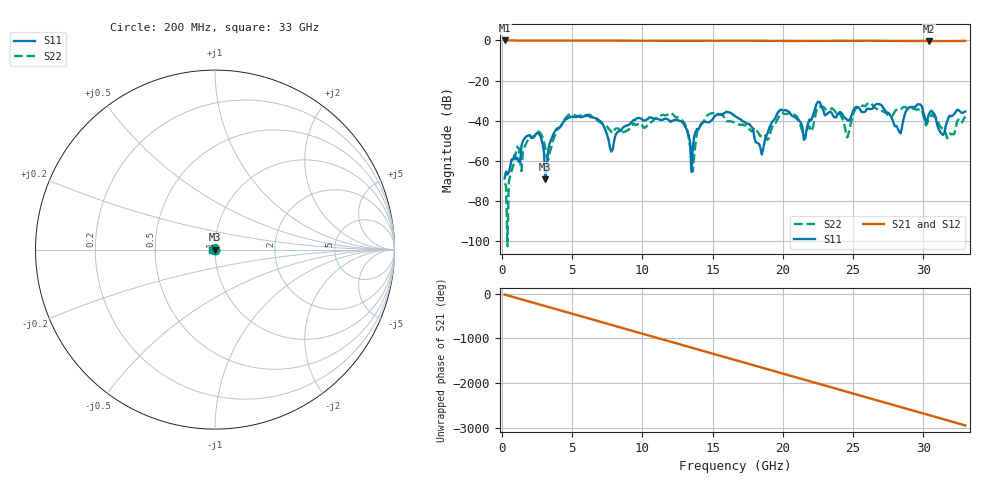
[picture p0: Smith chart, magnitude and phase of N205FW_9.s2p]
# GHZ S RI R 50
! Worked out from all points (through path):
!   329 points, 200 MHz to 33 GHz, reference 50 ohm
!   highest |S21| = -0.02 dB at 200 MHz (marker M1); lowest = -0.3 dB at 30.4 GHz (marker M2)
!   group delay of S21, straight-line fit = 248 ps
!   lowest |S11| = -69.2 dB at 3.1 GHz (marker M3), VSWR 1.00, Z = 50 + j0.0196 ohm
!   |S11| at or under -10 dB: start of sweep to end of sweep
!   |S22| runs from -102.6 to -31.1 dB; largest |S21 - S12| = 0.0022
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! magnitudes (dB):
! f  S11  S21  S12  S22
! 200 MHz  -68.8  0.0  0.0  -71.3
! 400 MHz  -66.9  0.0  0.0  -102.6
! 1.1 GHz  -58.5  -0.1  -0.1  -53.0
! 1.4 GHz  -52.6  -0.1  -0.1  -65.1
! 2.5 GHz  -46.1  -0.1  -0.1  -45.8
! 3.1 GHz  -69.2  -0.1  -0.1  -53.7
! 3.7 GHz  -46.2  -0.1  -0.1  -48.8
! 5.7 GHz  -38.2  -0.1  -0.1  -37.4
! 7.8 GHz  -55.4  -0.1  -0.1  -45.6
! 11.2 GHz  -39.4  -0.2  -0.2  -37.8
! 13 GHz  -42.2  -0.2  -0.2  -41.2
! 13.5 GHz  -65.6  -0.2  -0.2  -53.9
! 13.6 GHz  -52.9  -0.2  -0.2  -65.3
! 13.9 GHz  -44.1  -0.1  -0.2  -45.9
! 16.6 GHz  -37.7  -0.1  -0.1  -41.2
! 18.5 GHz  -56.9  -0.2  -0.2  -47.0
! 19.8 GHz  -34.9  -0.2  -0.3  -37.2
! 21.5 GHz  -49.5  -0.3  -0.3  -44.2
! 22.1 GHz  -38.5  -0.3  -0.3  -44.4
! 27.6 GHz  -36.7  -0.2  -0.2  -37.5
! 30.4 GHz  -36.8  -0.3  -0.3  -38.7
! 33 GHz  -35.4  -0.3  -0.2  -38.0
